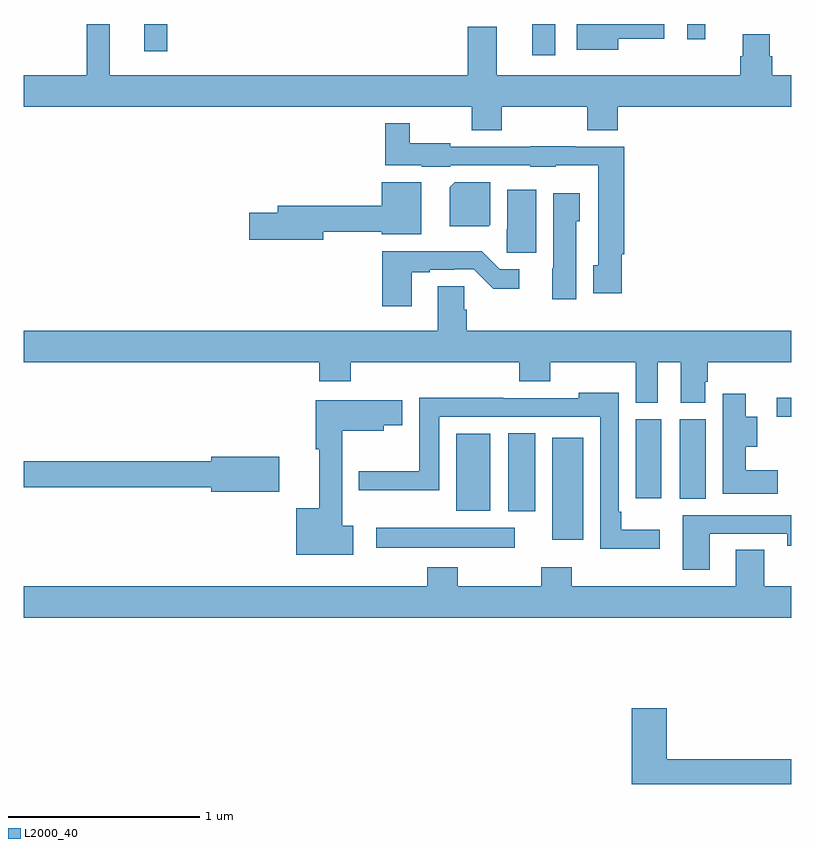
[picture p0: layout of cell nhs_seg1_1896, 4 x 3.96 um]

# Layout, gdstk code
import gdstk
lib = gdstk.Library(unit=1e-6, precision=1e-09)
def R(c, l, rs):  # rectangles x0, y0, x1, y1
    for r in rs: c.add(gdstk.rectangle(r[:2], r[2:], *l))
def P(c, l, *ps):  # polygons
    for p in ps: c.add(gdstk.Polygon(p, *l))
L2000_40 = (2000, 40)

nhs_seg1_1896 = lib.new_cell('nhs_seg1_1896')
R(nhs_seg1_1896, L2000_40, [(216.837,513.47,217.558,513.574), (217.754,513.51,217.915,514.042), (217.526,513.659,217.666,514.067), (217.253,513.662,217.432,514.063), (218.42,513.724,218.554,514.14), (218.189,513.726,218.323,514.14), (218.925,514.152,219,514.25), (217.649,516.036,217.771,516.199), (215.627,516.057,215.749,516.199), (218.457,516.12,218.553,516.199)])
P(nhs_seg1_1896, L2000_40, [(217.491,515.768),(217.936,515.768),(217.936,515.644),(218.096,515.644),(218.096,515.768),(219,515.768),(219,515.932),(218.9,515.932),(218.9,516.03),(218.887,516.03),(218.887,516.145),(218.747,516.145),(218.747,516.03),(218.735,516.03),(218.735,515.932),(217.465,515.932),(217.465,516.184),(217.313,516.184),(217.313,515.932),(215.449,515.932),(215.449,516.199),(215.328,516.199),(215.328,515.932),(215,515.932),(215,515.768),(217.336,515.768),(217.336,515.644),(217.491,515.644)],
  [(218.098,516.122),(218.338,516.122),(218.338,516.199),(217.881,516.199),(217.881,516.065),(218.098,516.065)],
  [(218.117,514.998),(218.129,514.998),(218.129,515.559),(217.873,515.559),(217.873,515.561),(217.641,515.561),(217.641,515.559),(217.224,515.559),(217.224,515.578),(217.012,515.578),(217.012,515.683),(216.883,515.683),(216.883,515.462),(217.074,515.462),(217.074,515.456),(217.224,515.456),(217.224,515.463),(217.641,515.463),(217.641,515.456),(217.773,515.456),(217.773,515.462),(217.994,515.462),(217.994,514.941),(217.967,514.941),(217.967,514.797),(218.117,514.797)],
  [(216.562,515.116),(216.866,515.116),(216.866,515.102),(217.072,515.102),(217.072,515.374),(216.866,515.374),(216.866,515.252),(216.323,515.252),(216.323,515.216),(216.174,515.216),(216.174,515.074),(216.562,515.074)],
  [(217.432,515.152),(217.432,515.374),(217.246,515.374),(217.22,515.348),(217.22,515.144),(217.424,515.144)],
  [(217.672,515.335),(217.52,515.335),(217.52,515.13),(217.516,515.13),(217.516,515.007),(217.672,515.007)],
  [(217.879,515.172),(217.897,515.172),(217.897,515.317),(217.76,515.317),(217.76,514.926),(217.754,514.926),(217.754,514.764),(217.879,514.764)],
  [(217.021,514.905),(217.117,514.905),(217.117,514.917),(217.244,514.917),(217.244,514.92),(217.344,514.92),(217.447,514.818),(217.582,514.818),(217.582,514.92),(217.482,514.92),(217.387,515.015),(216.869,515.015),(216.869,514.728),(217.021,514.728)],
  [(218.305,514.436),(218.423,514.436),(218.423,514.225),(218.551,514.225),(218.551,514.335),(218.564,514.335),(218.564,514.436),(219,514.436),(219,514.6),(217.31,514.6),(217.31,514.71),(217.296,514.71),(217.296,514.832),(217.157,514.832),(217.157,514.6),(215,514.6),(215,514.436),(216.539,514.436),(216.539,514.337),(216.704,514.337),(216.704,514.436),(217.583,514.436),(217.583,514.337),(217.743,514.337),(217.743,514.436),(218.189,514.436),(218.189,514.225),(218.305,514.225)],
  [(218.314,513.562),(218.113,513.562),(218.113,513.658),(218.1,513.658),(218.1,514.276),(217.893,514.276),(217.893,514.248),(217.499,514.248),(217.499,514.25),(217.061,514.25),(217.061,513.869),(216.746,513.869),(216.746,513.77),(217.165,513.77),(217.165,514.152),(218.004,514.152),(218.004,513.464),(218.314,513.464)],
  [(218.929,513.874),(218.764,513.874),(218.764,513.995),(218.824,513.995),(218.824,514.153),(218.764,514.153),(218.764,514.273),(218.642,514.273),(218.642,513.752),(218.929,513.752)],
  [(216.718,513.584),(216.661,513.584),(216.661,514.079),(216.877,514.079),(216.877,514.109),(216.972,514.109),(216.972,514.237),(216.521,514.237),(216.521,513.983),(216.539,513.983),(216.539,513.676),(216.419,513.676),(216.419,513.434),(216.718,513.434)],
  [(216.331,513.944),(215.978,513.944),(215.978,513.92),(215,513.92),(215,513.784),(215.978,513.784),(215.978,513.761),(216.331,513.761)],
  [(218.575,513.543),(218.98,513.543),(218.98,513.48),(219,513.48),(219,513.639),(218.435,513.639),(218.435,513.354),(218.575,513.354)],
  [(219,513.268),(218.859,513.268),(218.859,513.458),(218.711,513.458),(218.711,513.268),(217.856,513.268),(217.856,513.367),(217.696,513.367),(217.696,513.268),(217.263,513.268),(217.263,513.367),(217.103,513.367),(217.103,513.268),(215,513.268),(215,513.104),(219,513.104)],
  [(219,512.366),(218.351,512.366),(218.351,512.632),(218.168,512.632),(218.168,512.238),(219,512.238)])

lib.write_gds('nhs_seg1_1896.gds')
